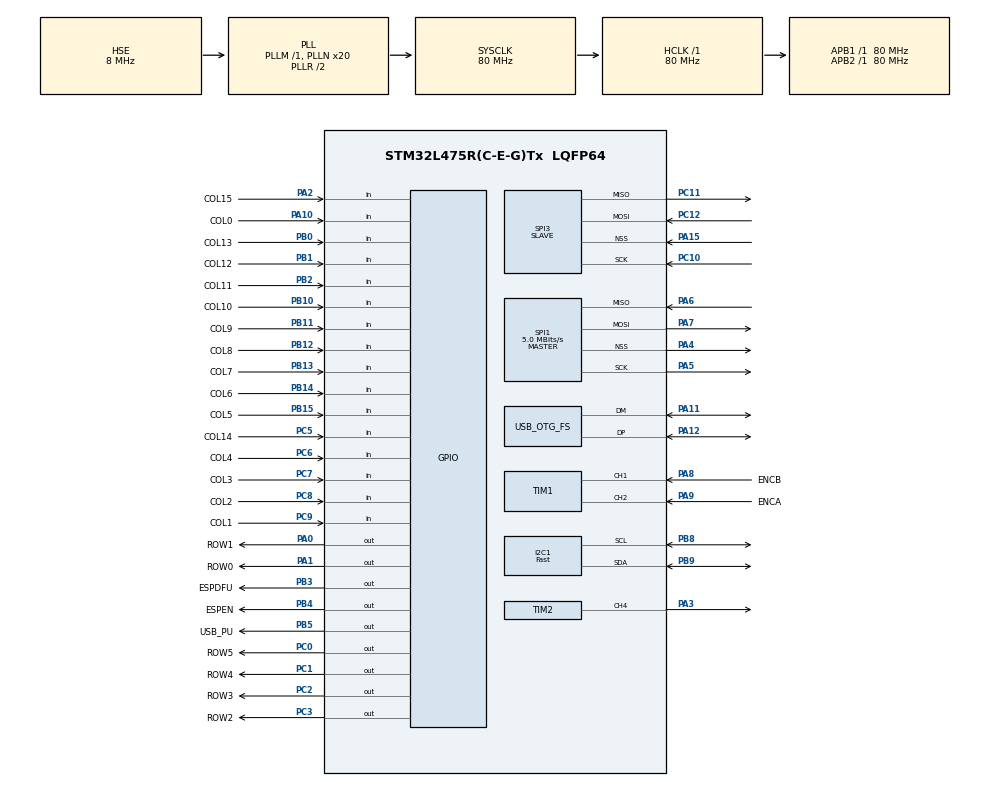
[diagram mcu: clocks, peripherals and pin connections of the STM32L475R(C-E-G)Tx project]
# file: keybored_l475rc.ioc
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Dma.I2C1_TX.2.Direction=DMA_MEMORY_TO_PERIPH
Dma.I2C1_TX.2.Instance=DMA1_Channel6
Dma.I2C1_TX.2.MemDataAlignment=DMA_MDATAALIGN_BYTE
Dma.I2C1_TX.2.MemInc=DMA_MINC_ENABLE
Dma.I2C1_TX.2.Mode=DMA_CIRCULAR
Dma.I2C1_TX.2.PeriphDataAlignment=DMA_PDATAALIGN_BYTE
Dma.I2C1_TX.2.PeriphInc=DMA_PINC_DISABLE
Dma.I2C1_TX.2.Priority=DMA_PRIORITY_LOW
Dma.Request0=TIM2_CH2/CH4
Dma.Request1=SPI1_TX
Dma.Request2=I2C1_TX
Dma.Request3=SPI3_TX
Dma.SPI1_TX.1.Direction=DMA_MEMORY_TO_PERIPH
Dma.SPI1_TX.1.Instance=DMA2_Channel4
Dma.SPI1_TX.1.MemDataAlignment=DMA_MDATAALIGN_BYTE
Dma.SPI1_TX.1.MemInc=DMA_MINC_ENABLE
Dma.SPI1_TX.1.Mode=DMA_CIRCULAR
Dma.SPI1_TX.1.PeriphDataAlignment=DMA_PDATAALIGN_BYTE
Dma.SPI1_TX.1.PeriphInc=DMA_PINC_DISABLE
Dma.SPI1_TX.1.Priority=DMA_PRIORITY_LOW
Dma.SPI3_TX.3.Direction=DMA_MEMORY_TO_PERIPH
Dma.SPI3_TX.3.Instance=DMA2_Channel2
Dma.SPI3_TX.3.MemDataAlignment=DMA_MDATAALIGN_BYTE
Dma.SPI3_TX.3.MemInc=DMA_MINC_ENABLE
Dma.SPI3_TX.3.Mode=DMA_CIRCULAR
Dma.SPI3_TX.3.PeriphDataAlignment=DMA_PDATAALIGN_BYTE
Dma.SPI3_TX.3.PeriphInc=DMA_PINC_DISABLE
Dma.SPI3_TX.3.Priority=DMA_PRIORITY_LOW
Dma.TIM2_CH2/CH4.0.Direction=DMA_MEMORY_TO_PERIPH
Dma.TIM2_CH2/CH4.0.Instance=DMA1_Channel7
Dma.TIM2_CH2/CH4.0.MemDataAlignment=DMA_MDATAALIGN_WORD
Dma.TIM2_CH2/CH4.0.MemInc=DMA_MINC_ENABLE
Dma.TIM2_CH2/CH4.0.Mode=DMA_CIRCULAR
Dma.TIM2_CH2/CH4.0.PeriphDataAlignment=DMA_PDATAALIGN_WORD
Dma.TIM2_CH2/CH4.0.PeriphInc=DMA_PINC_DISABLE
Dma.TIM2_CH2/CH4.0.Priority=DMA_PRIORITY_LOW
I2C1.I2C_Speed_Mode=I2C_Fast
I2C1.Timing=0x00F12981
Mcu.Family=STM32L4
Mcu.Name=STM32L475R(C-E-G)Tx
Mcu.Package=LQFP64
NVIC.DMA1_Channel6_IRQn=true\:0\:0\:false\:false\:true\:false\:true\:true
NVIC.DMA1_Channel7_IRQn=true\:0\:0\:false\:false\:true\:false\:true\:true
NVIC.DMA2_Channel2_IRQn=true\:0\:0\:false\:false\:true\:false\:true\:true
NVIC.DMA2_Channel4_IRQn=true\:0\:0\:false\:false\:true\:false\:true\:true
NVIC.FLASH_IRQn=true\:0\:0\:false\:false\:true\:true\:true\:true
NVIC.FPU_IRQn=true\:0\:0\:false\:false\:true\:true\:false\:true
NVIC.I2C1_ER_IRQn=true\:0\:0\:false\:false\:true\:true\:true\:true
NVIC.I2C1_EV_IRQn=true\:0\:0\:false\:false\:true\:true\:true\:true
NVIC.OTG_FS_IRQn=true\:0\:0\:false\:false\:true\:true\:true\:true
NVIC.PVD_PVM_IRQn=true\:0\:0\:false\:false\:true\:true\:true\:true
NVIC.PriorityGroup=NVIC_PRIORITYGROUP_4
NVIC.RCC_IRQn=true\:0\:0\:false\:false\:true\:true\:false\:true
NVIC.SPI1_IRQn=true\:0\:0\:false\:false\:true\:true\:true\:true
NVIC.SPI3_IRQn=true\:0\:0\:false\:false\:true\:true\:true\:true
NVIC.TIM1_BRK_TIM15_IRQn=true\:0\:0\:false\:false\:true\:true\:true\:true
NVIC.TIM1_CC_IRQn=true\:0\:0\:false\:false\:true\:true\:true\:true
NVIC.TIM1_TRG_COM_TIM17_IRQn=true\:15\:0\:false\:false\:true\:false\:true\:true
NVIC.TIM1_UP_TIM16_IRQn=true\:0\:0\:false\:false\:true\:true\:true\:true
NVIC.TIM2_IRQn=true\:0\:0\:false\:false\:true\:true\:true\:true
NVIC.TimeBase=TIM1_TRG_COM_TIM17_IRQn
NVIC.TimeBaseIP=TIM17
PA0.GPIO_Label=ROW1
PA0.GPIO_Speed=GPIO_SPEED_FREQ_VERY_HIGH
PA0.Signal=GPIO_Output
PA1.GPIO_Label=ROW0
PA1.GPIO_Speed=GPIO_SPEED_FREQ_VERY_HIGH
PA1.Signal=GPIO_Output
PA10.GPIO_Label=COL0
PA10.GPIO_PuPd=GPIO_PULLDOWN
PA10.Signal=GPIO_Input
PA11.Mode=Device_Only
PA11.Signal=USB_OTG_FS_DM
PA12.Mode=Device_Only
PA12.Signal=USB_OTG_FS_DP
PA13\ (JTMS-SWDIO).Mode=Serial_Wire
PA13\ (JTMS-SWDIO).Signal=SYS_JTMS-SWDIO
PA14\ (JTCK-SWCLK).Mode=Serial_Wire
PA14\ (JTCK-SWCLK).Signal=SYS_JTCK-SWCLK
PA15\ (JTDI).Mode=NSS_Signal_Hard_Input
PA15\ (JTDI).Signal=SPI3_NSS
PA2.GPIO_Label=COL15
PA2.GPIO_PuPd=GPIO_PULLDOWN
PA2.Signal=GPIO_Input
PA3.GPIO_Speed=GPIO_SPEED_FREQ_VERY_HIGH
PA3.Signal=S_TIM2_CH4
PA4.Mode=NSS_Signal_Hard_Output
PA4.Signal=SPI1_NSS
PA5.Mode=Full_Duplex_Master
PA5.Signal=SPI1_SCK
PA6.Mode=Full_Duplex_Master
PA6.Signal=SPI1_MISO
PA7.Mode=Full_Duplex_Master
PA7.Signal=SPI1_MOSI
PA8.GPIO_Label=ENCB
PA8.GPIO_ModeDefaultPP=GPIO_MODE_AF_PP
PA8.GPIO_PuPd=GPIO_PULLUP
PA8.GPIO_Speed=GPIO_SPEED_FREQ_VERY_HIGH
PA8.Signal=S_TIM1_CH1
PA9.GPIO_Label=ENCA
PA9.GPIO_ModeDefaultPP=GPIO_MODE_AF_PP
PA9.GPIO_PuPd=GPIO_PULLUP
PA9.GPIO_Speed=GPIO_SPEED_FREQ_VERY_HIGH
PA9.Signal=S_TIM1_CH2
PB0.GPIO_Label=COL13
PB0.GPIO_PuPd=GPIO_PULLDOWN
PB0.Signal=GPIO_Input
PB1.GPIO_Label=COL12
PB1.GPIO_PuPd=GPIO_PULLDOWN
PB1.Signal=GPIO_Input
PB10.GPIO_Label=COL10
PB10.GPIO_PuPd=GPIO_PULLDOWN
PB10.Signal=GPIO_Input
PB11.GPIO_Label=COL9
PB11.GPIO_PuPd=GPIO_PULLDOWN
PB11.Signal=GPIO_Input
PB12.GPIO_Label=COL8
PB12.GPIO_PuPd=GPIO_PULLDOWN
PB12.Signal=GPIO_Input
PB13.GPIO_Label=COL7
PB13.GPIO_PuPd=GPIO_PULLDOWN
PB13.Signal=GPIO_Input
PB14.GPIO_Label=COL6
PB14.GPIO_PuPd=GPIO_PULLDOWN
PB14.Signal=GPIO_Input
PB15.GPIO_Label=COL5
PB15.GPIO_PuPd=GPIO_PULLDOWN
PB15.Signal=GPIO_Input
PB2.GPIO_Label=COL11
PB2.GPIO_PuPd=GPIO_PULLDOWN
PB2.Signal=GPIO_Input
PB3\ (JTDO-TRACESWO).GPIO_Label=ESPDFU
PB3\ (JTDO-TRACESWO).GPIO_Speed=GPIO_SPEED_FREQ_VERY_HIGH
PB3\ (JTDO-TRACESWO).Signal=GPIO_Output
PB4\ (NJTRST).GPIO_Label=ESPEN
PB4\ (NJTRST).GPIO_PuPd=GPIO_PULLUP
PB4\ (NJTRST).GPIO_Speed=GPIO_SPEED_FREQ_VERY_HIGH
PB4\ (NJTRST).PinState=GPIO_PIN_RESET
PB4\ (NJTRST).Signal=GPIO_Output
PB5.GPIO_Label=USB_PU
PB5.GPIO_Speed=GPIO_SPEED_FREQ_VERY_HIGH
PB5.Signal=GPIO_Output
PB8.Mode=I2C
PB8.Signal=I2C1_SCL
PB9.Mode=I2C
PB9.Signal=I2C1_SDA
PC0.GPIO_Label=ROW5
PC0.GPIO_Speed=GPIO_SPEED_FREQ_VERY_HIGH
PC0.Signal=GPIO_Output
PC1.GPIO_Label=ROW4
PC1.GPIO_Speed=GPIO_SPEED_FREQ_VERY_HIGH
PC1.Signal=GPIO_Output
PC10.Mode=Full_Duplex_Slave
PC10.Signal=SPI3_SCK
PC11.Mode=Full_Duplex_Slave
PC11.Signal=SPI3_MISO
PC12.Mode=Full_Duplex_Slave
PC12.Signal=SPI3_MOSI
PC14-OSC32_IN\ (PC14).Mode=LSE-External-Oscillator
PC14-OSC32_IN\ (PC14).Signal=RCC_OSC32_IN
PC15-OSC32_OUT\ (PC15).Mode=LSE-External-Oscillator
PC15-OSC32_OUT\ (PC15).Signal=RCC_OSC32_OUT
PC2.GPIO_Label=ROW3
PC2.GPIO_Speed=GPIO_SPEED_FREQ_VERY_HIGH
PC2.Signal=GPIO_Output
PC3.GPIO_Label=ROW2
PC3.GPIO_Speed=GPIO_SPEED_FREQ_VERY_HIGH
PC3.Signal=GPIO_Output
PC5.GPIO_Label=COL14
PC5.GPIO_PuPd=GPIO_PULLDOWN
PC5.Signal=GPIO_Input
PC6.GPIO_Label=COL4
PC6.GPIO_PuPd=GPIO_PULLDOWN
PC6.Signal=GPIO_Input
PC7.GPIO_Label=COL3
PC7.GPIO_PuPd=GPIO_PULLDOWN
PC7.Signal=GPIO_Input
PC8.GPIO_Label=COL2
PC8.GPIO_PuPd=GPIO_PULLDOWN
PC8.Signal=GPIO_Input
PC9.GPIO_Label=COL1
PC9.GPIO_PuPd=GPIO_PULLDOWN
PC9.Signal=GPIO_Input
PH0-OSC_IN\ (PH0).Mode=HSE-External-Oscillator
PH0-OSC_IN\ (PH0).Signal=RCC_OSC_IN
PH1-OSC_OUT\ (PH1).Mode=HSE-External-Oscillator
PH1-OSC_OUT\ (PH1).Signal=RCC_OSC_OUT
ProjectManager.HeapSize=0x1000
ProjectManager.StackSize=0x1000
ProjectManager.TargetToolchain=STM32CubeIDE
RCC.ADCCLockSelection=RCC_ADCCLKSOURCE_PLLSAI2
RCC.ADCFreq_Value=16000000
RCC.AHBFreq_Value=80000000
RCC.APB1Freq_Value=80000000
RCC.APB1TimFreq_Value=80000000
RCC.APB2Freq_Value=80000000
RCC.APB2TimFreq_Value=80000000
RCC.CortexFreq_Value=80000000
RCC.EnbaleCSS=true
RCC.HCLKFreq_Value=80000000
RCC.HSE_VALUE=8000000
RCC.HSI_VALUE=16000000
RCC.MSIClockRange=RCC_MSIRANGE_0
RCC.MSI_VALUE=100000
RCC.PLLN=20
RCC.PLLQ=RCC_PLLQ_DIV6
RCC.PLLSAI1N=36
RCC.PLLSAI1Q=RCC_PLLQ_DIV6
RCC.PLLSAI2R=RCC_PLLR_DIV4
RCC.PLLSourceVirtual=RCC_PLLSOURCE_HSE
RCC.RCC_MCODiv=RCC_MCODIV_2
RCC.RTCClockSelection=RCC_RTCCLKSOURCE_LSE
RCC.SYSCLKFreq_VALUE=80000000
RCC.SYSCLKSource=RCC_SYSCLKSOURCE_PLLCLK
RCC.USBFreq_Value=48000000
RCC.VCOOutputFreq_Value=160000000
SH.S_TIM1_CH1.0=TIM1_CH1,Encoder_Interface
SH.S_TIM1_CH2.0=TIM1_CH2,Encoder_Interface
SH.S_TIM2_CH4.0=TIM2_CH4,PWM Generation4 CH4
SPI1.BaudRatePrescaler=SPI_BAUDRATEPRESCALER_16
SPI1.CalculateBaudRate=5.0 MBits/s
SPI1.DataSize=SPI_DATASIZE_8BIT
SPI1.Direction=SPI_DIRECTION_2LINES
SPI1.Mode=SPI_MODE_MASTER
SPI1.VirtualNSS=VM_NSSHARD
SPI1.VirtualType=VM_MASTER
SPI3.DataSize=SPI_DATASIZE_8BIT
SPI3.Direction=SPI_DIRECTION_2LINES
SPI3.Mode=SPI_MODE_SLAVE
SPI3.VirtualNSS=VM_NSSHARD
SPI3.VirtualType=VM_SLAVE
TIM15.Period=2 - 1
TIM15.Prescaler=40000 - 1
TIM16.Prescaler=80 - 1
TIM2.Channel-PWM\ Generation4\ CH4=TIM_CHANNEL_4
TIM2.Period=10
TIM2.Prescaler=10 - 1
USB_DEVICE.CLASS_NAME_FS=CUSTOM_HID
USB_DEVICE.CONFIGURATION_STRING_CUSTOMHID_FS=HID Config
USB_DEVICE.CUSTOM_HID_FS_BINTERVAL=1
USB_DEVICE.INTERFACE_STRING_CUSTOMHID_FS=HID Interface
USB_DEVICE.MANUFACTURER_STRING=tomertomism
USB_DEVICE.PRODUCT_STRING_CUSTOMHID_FS=KeyBored
USB_DEVICE.USBD_CUSTOMHID_OUTREPORT_BUF_SIZE=2
USB_DEVICE.USBD_CUSTOM_HID_REPORT_DESC_SIZE=90
USB_DEVICE.USBD_MAX_STR_DESC_SIZ=1024
USB_DEVICE.USBD_SELF_POWERED=1
USB_DEVICE.VirtualMode=CustomHid
USB_DEVICE.VirtualModeFS=Custom_Hid_FS
USB_OTG_FS.VirtualMode=Device_Only
VP_RTC_VS_RTC_Activate.Mode=RTC_Enabled
VP_SYS_VS_tim17.Mode=TIM17
VP_TIM15_VS_ClockSourceINT.Mode=Internal
VP_TIM16_VS_ClockSourceINT.Mode=Enable_Timer
VP_TIM2_VS_ClockSourceINT.Mode=Internal
VP_TIM5_VS_ClockSourceINT.Mode=Internal
VP_USB_DEVICE_VS_USB_DEVICE_CUSTOM_HID_FS.Mode=CUSTOM_HID_FS
board=custom

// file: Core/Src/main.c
/* USER CODE BEGIN Header */
/**
  ******************************************************************************
  * @file           : main.c
  * @brief          : Main program body
  ******************************************************************************
  * @attention
  *
  * Copyright (c) 2025 STMicroelectronics.
  * All rights reserved.
  *
  * This software is licensed under terms that can be found in the LICENSE file
  * in the root directory of this software component.
  * If no LICENSE file comes with this software, it is provided AS-IS.
  *
  ******************************************************************************
  */
/* USER CODE END Header */
#include "main.h"
#include "dma.h"
#include "i2c.h"
#include "rtc.h"
#include "spi.h"
#include "tim.h"
#include "usb_device.h"
#include "gpio.h"

/* USER CODE BEGIN Includes */
#include "usbd_custom_hid_if.h"
#include "custom_keymap.h"

#include <string.h>
/* USER CODE END Includes */

/* USER CODE BEGIN PV */
uint8_t countdown[5];

uint8_t key_report[9];
uint8_t consumer_report[2];

uint8_t is_fn_key_pressed;

uint8_t is_consumer_key_pressed = 0;
uint8_t caps_lock_status = 0;
uint8_t win_key_enable = 0;

uint8_t esp_hid_report_desc[USBD_CUSTOM_HID_REPORT_DESC_SIZE + 1];
uint8_t esp_key_report[8] = {1, 0, 0, 0, 0, 0, 0, 0};
uint8_t spi3_rx_buffer[128];
/* USER CODE END PV */

void SystemClock_Config(void);
/* USER CODE BEGIN PFP */
void scan_code(uint8_t layer);

void layer0_handler(uint8_t *report1, uint8_t *report2);

void layer1_handler(uint8_t *report1, uint8_t *report2);
/* USER CODE END PFP */

int main(void)
{

  /* MCU Configuration--------------------------------------------------------*/

  /* Reset of all peripherals, Initializes the Flash interface and the Systick. */
  HAL_Init();

  /* USER CODE BEGIN Init */
  __enable_irq();

  /* USER CODE END Init */

  /* Configure the system clock */
  SystemClock_Config();

  /* Initialize all configured peripherals */
  MX_GPIO_Init();
  MX_DMA_Init();
  MX_TIM2_Init();
  MX_TIM1_Init();
  MX_SPI1_Init();
  MX_SPI3_Init();
  MX_I2C1_Init();
  MX_TIM15_Init();
  MX_RTC_Init();
  MX_USB_DEVICE_Init();
  MX_TIM5_Init();
  MX_TIM16_Init();
  /* USER CODE BEGIN 2 */
  fill_led_buffer(0);
  HAL_TIM_PWM_Start_DMA(&htim2, TIM_CHANNEL_4, (uint32_t *) led_buffer, LED_BUFFER_SIZE);
  esp_hid_report_desc[0] = USBD_CUSTOM_HID_REPORT_DESC_SIZE;
  memcpy(&esp_hid_report_desc[1], CUSTOM_HID_ReportDesc_FS, USBD_CUSTOM_HID_REPORT_DESC_SIZE);
  HAL_SPI_Receive_IT(&hspi3, spi3_rx_buffer, 12);
  ESPEN_GPIO_Port->BSRR = ESPEN_Pin;
  HAL_TIM_Base_Start_IT(&htim15);
  HAL_TIM_Base_Start(&htim16);
  /* USER CODE END 2 */

  /* Infinite loop */
  while (1)
  {

    /* USER CODE BEGIN 3 */
	  scan_code(is_fn_key_pressed);
  }
  /* USER CODE END 3 */
}

void SystemClock_Config(void)
{
  RCC_OscInitTypeDef RCC_OscInitStruct = {0};
  RCC_ClkInitTypeDef RCC_ClkInitStruct = {0};

  /** Configure the main internal regulator output voltage
  */
  if (HAL_PWREx_ControlVoltageScaling(PWR_REGULATOR_VOLTAGE_SCALE1) != HAL_OK)
  {
    Error_Handler();
  }

  /** Configure LSE Drive Capability
  */
  HAL_PWR_EnableBkUpAccess();
  __HAL_RCC_LSEDRIVE_CONFIG(RCC_LSEDRIVE_LOW);

  /** Initializes the RCC Oscillators according to the specified parameters
  * in the RCC_OscInitTypeDef structure.
  */
  RCC_OscInitStruct.OscillatorType = RCC_OSCILLATORTYPE_HSE|RCC_OSCILLATORTYPE_LSE;
  RCC_OscInitStruct.HSEState = RCC_HSE_ON;
  RCC_OscInitStruct.LSEState = RCC_LSE_ON;
  RCC_OscInitStruct.PLL.PLLState = RCC_PLL_ON;
  RCC_OscInitStruct.PLL.PLLSource = RCC_PLLSOURCE_HSE;
  RCC_OscInitStruct.PLL.PLLM = 1;
  RCC_OscInitStruct.PLL.PLLN = 20;
  RCC_OscInitStruct.PLL.PLLP = RCC_PLLP_DIV7;
  RCC_OscInitStruct.PLL.PLLQ = RCC_PLLQ_DIV6;
  RCC_OscInitStruct.PLL.PLLR = RCC_PLLR_DIV2;
  if (HAL_RCC_OscConfig(&RCC_OscInitStruct) != HAL_OK)
  {
    Error_Handler();
  }

  /** Initializes the CPU, AHB and APB buses clocks
  */
  RCC_ClkInitStruct.ClockType = RCC_CLOCKTYPE_HCLK|RCC_CLOCKTYPE_SYSCLK
                              |RCC_CLOCKTYPE_PCLK1|RCC_CLOCKTYPE_PCLK2;
  RCC_ClkInitStruct.SYSCLKSource = RCC_SYSCLKSOURCE_PLLCLK;
  RCC_ClkInitStruct.AHBCLKDivider = RCC_SYSCLK_DIV1;
  RCC_ClkInitStruct.APB1CLKDivider = RCC_HCLK_DIV1;
  RCC_ClkInitStruct.APB2CLKDivider = RCC_HCLK_DIV1;

  if (HAL_RCC_ClockConfig(&RCC_ClkInitStruct, FLASH_LATENCY_4) != HAL_OK)
  {
    Error_Handler();
  }

  /** Enables the Clock Security System
  */
  HAL_RCC_EnableCSS();
}

/* USER CODE BEGIN 4 */
void scan_code(uint8_t layer){
	uint8_t report1[9] = {1, 0, 0, 0, 0, 0, 0, 0, 0};
	uint8_t report2[2] = {2, 0};
	switch(layer){
	case 0:
		layer0_handler(report1, report2);
		break;
	case 1:
		layer1_handler(report1, report2);
		break;
	}
	memcpy(key_report     , report1, 9);
	memcpy(consumer_report, report2, 2);
	memcpy(&esp_key_report[1], &report1[3], 6);
	memcpy(&esp_key_report[7], &report2[1], 1);
}

void layer0_handler(uint8_t *report1, uint8_t *report2){
	uint8_t count = 3;
	uint8_t size = 9;

	row0_set;

	if(count < size && col0_offset)
		report1[count++] = keymap_1[0];
	if(                col1_offset){
		if(!is_consumer_key_pressed){
			if(!countdown[0]){
				report2[1] = keymap_1[1];
				is_consumer_key_pressed = 1;
			}
			countdown[0] = 50;
		}
	}
	if(count < size && col2_offset)
		report1[count++] = keymap_1[2];
	if(count < size && col3_offset)
		report1[count++] = keymap_1[3];
	if(count < size && col4_offset)
		report1[count++] = keymap_1[4];
	if(count < size && col5_offset)
		report1[count++] = keymap_1[5];
	if(count < size && col6_offset)
		report1[count++] = keymap_1[6];
	if(count < size && col7_offset)
		report1[count++] = keymap_1[7];
	if(count < size && col8_offset)
		report1[count++] = keymap_1[8];
	if(count < size && col9_offset)
		report1[count++] = keymap_1[9];
	if(count < size && col10_offset)
		report1[count++] = keymap_1[10];
	if(count < size && col11_offset)
		report1[count++] = keymap_1[11];
	if(count < size && col12_offset)
		report1[count++] = keymap_1[12];
	if(count < size && col13_offset)
		report1[count++] = keymap_1[13];
	if(count < size && col14_offset)
		report1[count++] = keymap_1[14];

	row0_reset;
	TIM16->CNT = 0;
	while(TIM16->CNT < row_scan_interval);
	row1_set;

	if(count < size && col0_offset)
		report1[count++] = keymap_1[15];
	if(count < size && col1_offset)
		report1[count++] = keymap_1[16];
	if(count < size && col2_offset)
		report1[count++] = keymap_1[17];
	if(count < size && col3_offset)
		report1[count++] = keymap_1[18];
	if(count < size && col4_offset)
		report1[count++] = keymap_1[19];
	if(count < size && col5_offset)
		report1[count++] = keymap_1[20];
	if(count < size && col6_offset)
		report1[count++] = keymap_1[21];
	if(count < size && col7_offset)
		report1[count++] = keymap_1[22];
	if(count < size && col8_offset)
		report1[count++] = keymap_1[23];
	if(count < size && col9_offset)
		report1[count++] = keymap_1[24];
	if(count < size && col10_offset)
		report1[count++] = keymap_1[25];
	if(count < size && col11_offset)
		report1[count++] = keymap_1[26];
	if(count < size && col12_offset)
		report1[count++] = keymap_1[27];
	if(count < size && col13_offset)
		report1[count++] = keymap_1[28];
	if(count < size && col14_offset)
		report1[count++] = keymap_1[29];

	row1_reset;
	TIM16->CNT = 0;
	while(TIM16->CNT < row_scan_interval);
	row2_set;

	if(count < size && col0_offset)
		report1[count++] = keymap_1[30];
	if(count < size && col1_offset)
		report1[count++] = keymap_1[31];
	if(count < size && col2_offset)
		report1[count++] = keymap_1[32];
	if(count < size && col3_offset)
		report1[count++] = keymap_1[33];
	if(count < size && col4_offset)
		report1[count++] = keymap_1[34];
	if(count < size && col5_offset)
		report1[count++] = keymap_1[35];
	if(count < size && col6_offset)
		report1[count++] = keymap_1[36];
	if(count < size && col7_offset)
		report1[count++] = keymap_1[37];
	if(count < size && col8_offset)
		report1[count++] = keymap_1[38];
	if(count < size && col9_offset)
		report1[count++] = keymap_1[39];
	if(count < size && col10_offset)
		report1[count++] = keymap_1[40];
	if(count < size && col11_offset)
		report1[count++] = keymap_1[41];
	if(count < size && col12_offset)
		report1[count++] = keymap_1[42];
	if(count < size && col13_offset)
		report1[count++] = keymap_1[43];
	if(count < size && col14_offset)
		report1[count++] = keymap_1[44];

	row2_reset;
	TIM16->CNT = 0;
	while(TIM16->CNT < row_scan_interval);
	row3_set;

	if(count < size && col0_offset)
		report1[count++] = keymap_1[45];
	if(count < size && col1_offset)
		report1[count++] = keymap_1[46];
	if(count < size && col2_offset)
		report1[count++] = keymap_1[47];
	if(count < size && col3_offset)
		report1[count++] = keymap_1[48];
	if(count < size && col4_offset)
		report1[count++] = keymap_1[49];
	if(count < size && col5_offset)
		report1[count++] = keymap_1[50];
	if(count < size && col6_offset)
		report1[count++] = keymap_1[51];
	if(count < size && col7_offset)
		report1[count++] = keymap_1[52];
	if(count < size && col8_offset)
		report1[count++] = keymap_1[53];
	if(count < size && col9_offset)
		report1[count++] = keymap_1[54];
	if(count < size && col10_offset)
		report1[count++] = keymap_1[55];
	if(count < size && col11_offset)
		report1[count++] = keymap_1[56];
	if(count < size && col12_offset)
		report1[count++] = keymap_1[57];
//	if(count < size && col13_offset);
	if(count < size && col14_offset)
		report1[count++] = keymap_1[58];

	row3_reset;
	TIM16->CNT = 0;
	while(TIM16->CNT < row_scan_interval);
	row4_set;

	if(                col0_offset)
		report1[     1] |= keymap_1[59];
	if(count < size && col1_offset)
		report1[count++] = keymap_1[60];
	if(count < size && col2_offset)
		report1[count++] = keymap_1[61];
	if(count < size && col3_offset)
		report1[count++] = keymap_1[62];
	if(count < size && col4_offset)
		report1[count++] = keymap_1[63];
	if(count < size && col5_offset)
		report1[count++] = keymap_1[64];
	if(count < size && col6_offset)
		report1[count++] = keymap_1[65];
	if(count < size && col7_offset)
		report1[count++] = keymap_1[66];
	if(count < size && col8_offset)
		report1[count++] = keymap_1[67];
	if(count < size && col9_offset)
		report1[count++] = keymap_1[68];
	if(count < size && col10_offset)
		report1[count++] = keymap_1[69];
	if(count < size && col11_offset)
		report1[count++] = keymap_1[70];
	if(count < size && col12_offset)
		report1[count++] = keymap_1[71];
//	if(count < size && col13_offset);
	if(count < size && col14_offset)
		report1[count++] = keymap_1[72];

	row4_reset;
	TIM16->CNT = 0;
	while(TIM16->CNT < row_scan_interval);
	row5_set;

	if(                col0_offset)
		report1[1] |= keymap_1[73];
	if(                col1_offset)
		report1[1] |= keymap_1[74];
	if(                col2_offset)
		report1[1] |= keymap_1[75];
//	if(count < size && col3_offset);
//	if(count < size && col4_offset);
	if(count < size && col5_offset)
		report1[count++] = keymap_1[76];
//	if(count < size && col6_offset);
//	if(count < size && col7_offset);
//	if(count < size && col8_offset);
	if(count < size && col9_offset)
		report1[count++] = keymap_1[77];
	if(               col10_offset){
		is_fn_key_pressed = 1;
	}else{
		is_fn_key_pressed = 0;
	}
	if(count < size && col11_offset)
		report1[count++] = keymap_1[79];
	if(count < size && col12_offset)
		report1[count++] = keymap_1[80];
	if(count < size && col13_offset)
		report1[count++] = keymap_1[81];
	if(count < size && col14_offset)
		report1[count++] = keymap_1[82];

	row5_reset;
	TIM16->CNT = 0;
	while(TIM16->CNT < row_scan_interval);
}

void layer1_handler(uint8_t *report1, uint8_t *report2){
	uint8_t count = 3;
	uint8_t size = 9;

	row0_set;

	if(count < size && col0_offset);
	if(count < size && col1_offset);
	if(count < size && col2_offset);
	if(count < size && col3_offset);
	if(count < size && col4_offset);
	if(count < size && col5_offset);
	if(count < size && col6_offset);
	if(count < size && col7_offset);
	if(count < size && col8_offset);
	if(count < size && col9_offset);
	if(count < size && col10_offset);
	if(count < size && col11_offset);
	if(count < size && col12_offset);
	if(count < size && col13_offset);
	if(count < size && col14_offset);
	if(count < size && col15_offset);

	row0_reset;
	row1_set;

	if(count < size && col0_offset);
	if(count < size && col1_offset);
	if(count < size && col2_offset);
	if(count < size && col3_offset);
	if(count < size && col4_offset);
	if(count < size && col5_offset);
	if(count < size && col6_offset);
	if(count < size && col7_offset);
	if(count < size && col8_offset);
	if(count < size && col9_offset);
	if(count < size && col10_offset);
	if(count < size && col11_offset);
	if(count < size && col12_offset);
	if(count < size && col13_offset);
	if(count < size && col14_offset);
	if(count < size && col15_offset);

	row1_reset;
	row2_set;

	if(count < size && col0_offset);
	if(count < size && col1_offset);
	if(count < size && col2_offset);
	if(count < size && col3_offset);
	if(count < size && col4_offset);
	if(count < size && col5_offset);
	if(count < size && col6_offset);
	if(count < size && col7_offset);
	if(count < size && col8_offset);
	if(count < size && col9_offset);
	if(count < size && col10_offset);
	if(count < size && col11_offset);
	if(count < size && col12_offset);
	if(count < size && col13_offset);
	if(count < size && col14_offset);
	if(count < size && col15_offset);

	row2_reset;
	row3_set;

	if(count < size && col0_offset);
	if(count < size && col1_offset);
	if(count < size && col2_offset);
	if(count < size && col3_offset);
	if(count < size && col4_offset);
	if(count < size && col5_offset);
	if(count < size && col6_offset);
	if(count < size && col7_offset);
	if(count < size && col8_offset);
	if(count < size && col9_offset);
	if(count < size && col10_offset);
	if(count < size && col11_offset);
	if(count < size && col12_offset);
	if(count < size && col13_offset);
	if(count < size && col14_offset);
	if(count < size && col15_offset);

	row3_reset;
	row4_set;

	if(count < size && col0_offset);
	if(count < size && col1_offset);
	if(count < size && col2_offset);
	if(count < size && col3_offset);
	if(count < size && col4_offset);
	if(count < size && col5_offset);
	if(count < size && col6_offset);
	if(count < size && col7_offset);
	if(count < size && col8_offset);
	if(count < size && col9_offset);
	if(count < size && col10_offset);
	if(count < size && col11_offset);
	if(count < size && col12_offset);
	if(count < size && col13_offset);
	if(count < size && col14_offset);
	if(count < size && col15_offset);

	row4_reset;
	row5_set;

	if(count < size && col0_offset);
	if(count < size && col1_offset);
	if(count < size && col2_offset);
	if(count < size && col3_offset);
	if(count < size && col4_offset);
	if(count < size && col5_offset);
	if(count < size && col6_offset);
	if(count < size && col7_offset);
	if(count < size && col8_offset);
	if(count < size && col9_offset);
	if(count < size && col10_offset);
	if(count < size && col11_offset);
	if(count < size && col12_offset);
	if(count < size && col13_offset);
	if(count < size && col14_offset);
	if(count < size && col15_offset);
	row5_reset;
}

void fill_led_buffer(uint32_t color_rgb){
	for(uint16_t i = 0; i < NUM_LED; i++){
		uint8_t is_enable = 1;
		if(i == led_keymap[44] && caps_lock_status)
			is_enable = 0;
		if(i == led_keymap[73] && !win_key_enable)
			is_enable = 0;
		if(is_enable){
			for(uint8_t j = 0; j < 8; j++){
				led_buffer[(i * 24) +       j]   = (color_rgb & (1 << (15 - j))) ? LED_LOGIC_1 : LED_LOGIC_0;// G channel
				led_buffer[(i * 24) + ( 8 + j)]  = (color_rgb & (1 << (23 - j))) ? LED_LOGIC_1 : LED_LOGIC_0;// R channel
				led_buffer[(i * 24) + (16 + j)]  = (color_rgb & (1 << ( 7 - j))) ? LED_LOGIC_1 : LED_LOGIC_0;// B channel
			}
		}else{
			for(uint8_t j = 0; j < 8; j++){
				led_buffer[(i * 24) +       j]   = LED_LOGIC_0;// G channel
				led_buffer[(i * 24) + ( 8 + j)]  = LED_LOGIC_0;// R channel
				led_buffer[(i * 24) + (16 + j)]  = LED_LOGIC_0;// B channel
			}
		}
	}
}

void set_led_buffer_at_location(uint8_t pos, uint32_t color_rgb){
	for(uint8_t j = 0; j < 8; j++){
		led_buffer[(led_keymap[pos] * 24) +       j]   = (color_rgb & (1 << (15 - j))) ? LED_LOGIC_1 : LED_LOGIC_0;// G channel
		led_buffer[(led_keymap[pos] * 24) + ( 8 + j)]  = (color_rgb & (1 << (23 - j))) ? LED_LOGIC_1 : LED_LOGIC_0;// R channel
		led_buffer[(led_keymap[pos] * 24) + (16 + j)]  = (color_rgb & (1 << ( 7 - j))) ? LED_LOGIC_1 : LED_LOGIC_0;// B channel
	}
}

uint32_t calc_led_brightness(uint8_t brightness, uint32_t color_rgb){
	uint8_t r = (color_rgb >> 16) & 0xff;
	uint8_t g = (color_rgb >>  8) & 0xff;
	uint8_t b = (color_rgb      ) & 0xff;

	if(brightness > MAX_brightness)
		brightness = MAX_brightness;

	r = (r * brightness) / 255;
	g = (g * brightness) / 255;
	b = (b * brightness) / 255;
	return (r << 16 | g << 8 | b);
}

void HAL_SPI_RxCpltCallback(SPI_HandleTypeDef * hspi){
	if(hspi->Instance == SPI3){
//		memset(spi3_tx_buffer, 0, 16);
		switch(spi3_rx_buffer[0]){
		case 0x1:
			HAL_SPI_Transmit_IT(hspi, esp_hid_report_desc, sizeof(esp_hid_report_desc));
			break;
		case 0x11:
			HAL_SPI_Transmit_IT(hspi, esp_key_report, sizeof(esp_key_report));
			break;
		default:
			HAL_SPI_Receive_IT(hspi, spi3_rx_buffer, 12);
			break;
		}
	}
}

void HAL_SPI_TxCpltCallback(SPI_HandleTypeDef * hspi){
	if(hspi->Instance == SPI3){
		HAL_SPI_Receive_IT(hspi, spi3_rx_buffer, 12);
	}
}
void HAL_SPI_ErrorCallback(SPI_HandleTypeDef *hspi){
	NVIC_SystemReset();
}
/* USER CODE END 4 */

void HAL_TIM_PeriodElapsedCallback(TIM_HandleTypeDef *htim)
{
  /* USER CODE BEGIN Callback 0 */
  if(htim->Instance == TIM15){
	  if(is_consumer_key_pressed){
		  USBD_CUSTOM_HID_SendReport(&hUsbDeviceFS, consumer_report, 2);
	  }else{
		  USBD_CUSTOM_HID_SendReport(&hUsbDeviceFS, key_report, 9);
	  }
  }

  /* USER CODE END Callback 0 */
  if (htim->Instance == TIM17)
  {
    HAL_IncTick();
  }
}

void Error_Handler(void)
{
  /* USER CODE BEGIN Error_Handler_Debug */
  /* User can add his own implementation to report the HAL error return state */
  __disable_irq();
  while (1);
  /* USER CODE END Error_Handler_Debug */
}
